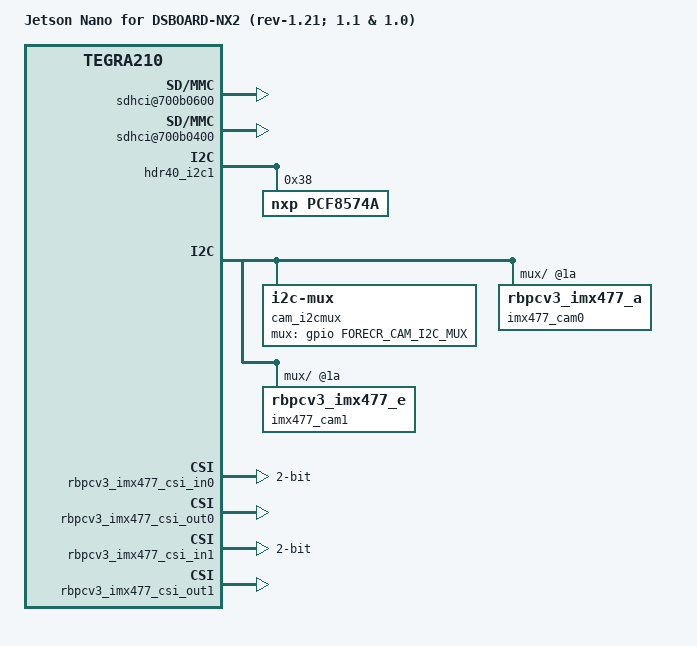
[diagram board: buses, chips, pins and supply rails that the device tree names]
/*
 * arch/arm64/boot/dts/tegra210-p3448-0002-p3449-0000-b00.dts
 *
 * Copyright (c) 2018-2021, NVIDIA CORPORATION.  All rights reserved.
 *
 * This program is free software; you can redistribute it and/or modify
 * it under the terms of the GNU General Public License as published by
 * the Free Software Foundation; version 2 of the License.
 *
 * This program is distributed in the hope that it will be useful, but WITHOUT
 * ANY WARRANTY; without even the implied warranty of MERCHANTABILITY or
 * FITNESS FOR A PARTICULAR PURPOSE.  See the GNU General Public License for
 * more details.
 *
 * You should have received a copy of the GNU General Public License along
 * with this program; if not, write to the Free Software Foundation, Inc.,
 * 51 Franklin Street, Fifth Floor, Boston, MA  02110-1301, USA.
 *
 */

#include "tegra210-porg-p3448-common.dtsi"
#include "porg-platforms/tegra210-porg-camera-rbpcv3-dual-imx477.dtsi"
#include "porg-platforms/tegra210-porg-camera-rbpcv2-dual-imx219.dtsi"
#include "porg-platforms/tegra210-porg-pinmux-p3448-0002-b00.dtsi"
#include "porg-platforms/tegra210-porg-gpio-p3448-0002-b00.dtsi"
#include "porg-platforms/tegra210-porg-p3448-emc-a00.dtsi"
#include "tegra210-disable-debug-rx.dtsi"
#include "tegra210-enable-spi.dtsi"

#define FORECR_CAM_I2C_MUX TEGRA_GPIO(Z, 0) // GPIO11

/ {
	model = "Jetson Nano for DSBOARD-NX2 (rev-1.21; 1.1 & 1.0)";
	compatible ="nvidia,p3449-0000-b00+p3448-0002-b00", "nvidia,jetson-nano", "nvidia,tegra210";
	nvidia,dtsfilename = __FILE__;

	sdhci@700b0600 { /* SDMMC4 for EMMC */
		status = "okay";
	};

	sdhci@700b0400 {
		status = "okay";
		/delete-property/ keep-power-in-suspend;
		/delete-property/ non-removable;
		nvidia,vmmc-always-on;
	};

	sdhci@700b0000 { /* SDMMC1 for SD card */
		status = "disabled";
	};

	spi@70410000 { /* QSPI */
		status = "disabled";
	};

	pwm-fan {
		status = "disabled";
	};
	
	hdr40_i2c1: i2c@7000c400 {
		pcf8574a: gpio@38 {
			compatible = "nxp,pcf8574a";
			reg = <0x38>;
			gpio-controller;
			#gpio-cells = <2>;
		};

	};

	cam_i2cmux {
		mux-gpios = <&gpio FORECR_CAM_I2C_MUX GPIO_ACTIVE_HIGH>;
		
		i2c_0: i2c@0 {
			imx477_cam0: rbpcv3_imx477_a@1a {
				status = "okay";
			};
			imx219_cam0: rbpcv2_imx219_a@10 {
				status = "disabled";
			};
		};
		i2c_1: i2c@1 {
			imx477_cam1: rbpcv3_imx477_e@1a {
				status = "okay";
			};
			imx219_cam1: rbpcv2_imx219_e@10 {
				status = "disabled";
			};
		};
	};

	tcp: tegra-camera-platform {
		modules {
			cam_module0: module0 {
				status = "okay";
				badge = "porg_front_RBPCV3";
				position = "front";
				orientation = "1";
				cam_module0_drivernode0: drivernode0 {
					pcl_id = "v4l2_sensor";
					devname = "imx477 7-001a";
					proc-device-tree = "/proc/device-tree/cam_i2cmux/i2c@0/rbpcv3_imx477_a@1a";
				};
			};
			cam_module1: module1 {
				status = "okay";
				badge = "porg_rear_RBPCV3";
				position = "rear";
				orientation = "1";
				cam_module1_drivernode0: drivernode0 {
					status = "okay";
					pcl_id = "v4l2_sensor";
					devname = "imx477 8-001a";
					proc-device-tree = "/proc/device-tree/cam_i2cmux/i2c@1/rbpcv3_imx477_e@1a";
				};
			};
		};
	};
	host1x {
		vi_base: vi {
			ports {
				vi_port0: port@0 {
					rbpcv3_imx477_vi_in0: endpoint {
						status = "okay";
						port-index = <0>;
						bus-width = <2>;
						remote-endpoint = <&rbpcv3_imx477_csi_out0>;
					};
				};
				vi_port1: port@1 {
					rbpcv3_imx477_vi_in1: endpoint {
						status = "okay";
						port-index = <4>;
						bus-width = <2>;
						remote-endpoint = <&rbpcv3_imx477_csi_out1>;
					};
				};
			};
		};
		csi_base: nvcsi {
			csi_chan0: channel@0 {
				ports {
					csi_chan0_port0: port@0 {
						rbpcv3_imx477_csi_in0: endpoint@0 {
							status = "okay";
							port-index = <0>;
							bus-width = <2>;
							remote-endpoint = <&rbpcv3_imx477_dual_out0>;
						};
					};
					csi_chan0_port1: port@1 {
						rbpcv3_imx477_csi_out0: endpoint@1 {
							status = "okay";
						};
					};
				};
			};
			csi_chan1: channel@1 {
				ports {
					csi_chan1_port0: port@2 {
						rbpcv3_imx477_csi_in1: endpoint@2 {
							status = "okay";
							port-index = <4>;
							bus-width = <2>;
							remote-endpoint = <&rbpcv3_imx477_out1>;
						};
					};
					csi_chan1_port1: port@3 {
						rbpcv3_imx477_csi_out1: endpoint@3 {
							status = "okay";
						};
					};
				};
			};
		};
	};

	gpio@6000d000 {
			/* gpio-name for 40-pin header, gpio-name given as COL(10) x ROW(20) */
			gpio-line-names = "",   "",     "",     "",     "",     "",     "",     "",     "",     "",
			"",     "",     "SPI1_MOSI",    "SPI1_MISO",    "SPI1_SCK",     "SPI1_CS0",     "SPI0_MOSI",    "SPI0_MISO",    "SPI0_SCK",     "SPI0_CS0",
			"SPI0_CS1",     "",     "",     "",     "",     "",     "",     "",     "",     "",
			"",     "",     "",     "",     "",     "",     "",     "",     "GPIO13",      "",
			"",     "",     "",     "",     "",     "",     "",     "",     "",     "",
			"UART1_RTS",    "UART1_CTS",    "",     "",     "",     "",     "",     "",     "",     "",
			"",     "",     "",     "",     "",     "",     "",     "",     "",     "",
			"",     "",     "",     "",     "",     "",     "I2S0_FS",    "I2S0_DIN",    "I2S0_DOUT",   "I2S0_SCLK",
			"",     "",     "",     "",     "",     "",     "",     "",     "",     "",
			"",     "",     "",     "",     "",     "",     "",     "",     "",     "",
			"",     "",     "",     "",     "",     "",     "",     "",     "",     "",
			"",     "",     "",     "",     "",     "",     "",     "",     "",     "",
			"",     "",     "",     "",     "",     "",     "",     "",     "",     "",
			"",     "",     "",     "",     "",     "",     "",     "",     "",     "",
			"",     "",     "",     "",     "",     "",     "",     "",     "",     "GPIO01",
			"",     "",     "",     "",     "",     "",     "",     "",     "",     "",
			"",     "",     "",     "",     "",     "",     "",     "",     "GPIO07",   "",
			"",     "",     "",     "",     "",     "",     "",     "",     "",     "",
			"",     "",     "",     "",     "",     "",     "",     "",     "",     "",
			"",     "",     "",     "",     "GPIO12",       "",     "",     "",     "",     "",
			"GPIO11",      "",     "",     "",     "",     "",     "",     "",     "",     "",
			"",     "",     "",     "",     "",     "",     "GPIO09",     "",     "",     "",
			"",     "",     "",     "",     "",     "",     "",     "",     "",     "",
			"",     "",     "SPI1_CS1",     "",     "",     "",     "",     "",     "",     "";
	};
};
